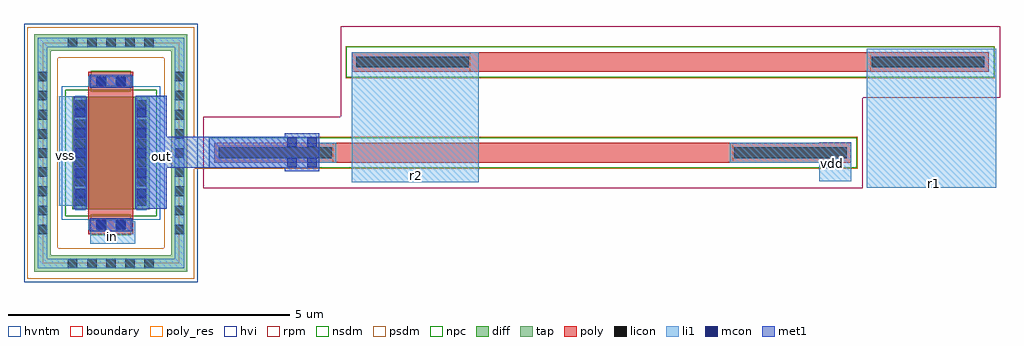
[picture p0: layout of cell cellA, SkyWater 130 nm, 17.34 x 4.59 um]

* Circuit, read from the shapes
.subckt cellA in out r1 r2 vdd vss
XM1 out in vss VSUBS sky130_fd_pr__nfet_g5v0d10v5 w=2 l=0.8
XR2 vdd out VSUBS sky130_fd_pr__res_high_po w=0.35 l=7
XR3 r1 r2 VSUBS sky130_fd_pr__res_high_po w=0.35 l=7
.ends

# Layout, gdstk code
from math import pi, radians
import gdstk
lib = gdstk.Library(unit=1e-6, precision=1e-09)
def R(c, l, rs):  # rectangles x0, y0, x1, y1
    for r in rs: c.add(gdstk.rectangle(r[:2], r[2:], *l))
def A(c, l, x, y, w, h, nx, ny, dx, dy):  # array of equal rectangles
    R(c, l, [(x+i*dx, y+j*dy, x+i*dx+w, y+j*dy+h) for i in range(nx) for j in range(ny)])
diff = (65, 20)
tap = (65, 44)
poly_res = (66, 13)
poly = (66, 20)
licon = (66, 44)
li1 = (67, 20)
mcon = (67, 44)
met1 = (68, 20)
hvi = (75, 20)
rpm = (86, 20)
nsdm = (93, 44)
psdm = (94, 20)
npc = (95, 20)
hvntm = (125, 20)
boundary = (235, 4)

sky130_fd_pr__nfet_g5v0d = lib.new_cell('sky130_fd_pr__nfet_g5v0d10v5_UDRKLA')
R(sky130_fd_pr__nfet_g5v0d, diff, [(-0.69,-1,0.69,1)])
R(sky130_fd_pr__nfet_g5v0d, tap, [(-1.36,-2.11,1.36,-1.82), (-1.36,-1.82,-1.07,1.82), (1.07,-1.82,1.36,1.82), (-1.36,1.82,1.36,2.11)])
R(sky130_fd_pr__nfet_g5v0d, poly, [(-0.4,-1.44,0.4,1.44)])
A(sky130_fd_pr__nfet_g5v0d, licon, -0.765, -2.05, 0.17, 0.17, 5, 2, 0.34, 3.93)
A(sky130_fd_pr__nfet_g5v0d, licon, -1.3, -1.445, 0.17, 0.17, 1, 9, 0, 0.34)
A(sky130_fd_pr__nfet_g5v0d, licon, 1.13, -1.445, 0.17, 0.17, 1, 9, 0, 0.34)
A(sky130_fd_pr__nfet_g5v0d, licon, -0.63, -0.935, 0.17, 0.17, 1, 6, 0, 0.34)
A(sky130_fd_pr__nfet_g5v0d, licon, 0.46, -0.935, 0.17, 0.17, 1, 6, 0, 0.34)
R(sky130_fd_pr__nfet_g5v0d, licon, [(-0.255,-1.36,-0.085,-1.19), (0.085,-1.36,0.255,-1.19), (-0.255,1.19,-0.085,1.36), (0.085,1.19,0.255,1.36)])
R(sky130_fd_pr__nfet_g5v0d, li1, [(-1.3,-2.05,1.3,-1.88), (-1.3,-1.88,-1.13,1.88), (1.13,-1.88,1.3,1.88), (-0.4,-1.36,0.4,-1.19), (-0.63,-1.02,-0.46,1.02), (0.46,-1.02,0.63,1.02), (-0.4,1.19,0.4,1.36), (-1.3,1.88,1.3,2.05)])
A(sky130_fd_pr__nfet_g5v0d, mcon, -0.63, -0.805, 0.17, 0.17, 1, 5, 0, 0.36)
A(sky130_fd_pr__nfet_g5v0d, mcon, 0.46, -0.805, 0.17, 0.17, 1, 5, 0, 0.36)
R(sky130_fd_pr__nfet_g5v0d, mcon, [(-0.265,-1.36,-0.095,-1.19), (0.095,-1.36,0.265,-1.19), (-0.265,1.19,-0.095,1.36), (0.095,1.19,0.265,1.36)])
R(sky130_fd_pr__nfet_g5v0d, met1, [(-0.38,-1.39,0.38,-1.16), (-0.66,-1,-0.43,1), (0.43,-1,0.66,1), (-0.38,1.16,0.38,1.39)])
R(sky130_fd_pr__nfet_g5v0d, hvi, [(-1.545,-2.295,1.545,2.295)])
R(sky130_fd_pr__nfet_g5v0d, nsdm, [(-0.815,-1.125,0.815,1.125)])
R(sky130_fd_pr__nfet_g5v0d, psdm, [(-1.485,-2.235,1.485,-1.695), (-1.485,-1.695,-0.945,1.695), (0.945,-1.695,1.485,1.695), (-1.485,1.695,1.485,2.235)])
R(sky130_fd_pr__nfet_g5v0d, npc, [(-0.355,-1.46,0.355,-1.09), (-0.355,1.09,0.355,1.46)])
R(sky130_fd_pr__nfet_g5v0d, hvntm, [(-0.875,-1.185,0.875,1.185)])
R(sky130_fd_pr__nfet_g5v0d, boundary, [(-1.21,-1.96,1.21,1.96)])

sky130_fd_pr__res_high_p = lib.new_cell('sky130_fd_pr__res_high_po_0p35_L6NJBM')
R(sky130_fd_pr__res_high_p, poly_res, [(-0.175,-3.56,0.175,3.56)])
R(sky130_fd_pr__res_high_p, poly, [(-0.175,-5.66,0.175,5.66)])
R(sky130_fd_pr__res_high_p, licon, [(-0.095,-5.58,0.095,-3.58), (-0.095,3.58,0.095,5.58)])
R(sky130_fd_pr__res_high_p, li1, [(-0.175,-5.66,0.175,-3.5), (-0.175,3.5,0.175,5.66)])
R(sky130_fd_pr__res_high_p, rpm, [(-0.635,-5.86,0.635,5.86)])
R(sky130_fd_pr__res_high_p, psdm, [(-0.285,-5.77,0.285,5.77)])
R(sky130_fd_pr__res_high_p, npc, [(-0.27,-5.755,0.27,5.755)])

cella = lib.new_cell('cellA')
R(cella, li1, [(-1.65,9.39,-0.85,9.79), (-0.79,10.01,-0.32,12.01), (-2.2,10.06,-1.72,12.01), (12.15,10.38,14.45,12.85), (3,10.48,5.26,12.79), (11.31,10.5,11.88,11.19), (0.46,10.74,2.39,11.29)])
R(cella, mcon, [(1.85,10.75,2.02,10.92), (2.21,10.75,2.38,10.92), (1.85,11.11,2.02,11.28), (2.21,11.11,2.38,11.28)])
R(cella, met1, [(-0.835,10.005,-0.285,10.74), (1.81,10.68,2.42,10.74), (-0.835,10.74,2.42,11.29), (-0.835,11.29,-0.285,12.015), (1.81,11.29,2.42,11.35)])
R(cella, rpm, [(2.8,11.64,12.08,11.98)])
R(cella, psdm, [(0.205,10.72,0.45,11.29)])
cella.add(gdstk.Reference(sky130_fd_pr__nfet_g5v0d, (-1.28,11)))
cella.add(gdstk.Reference(sky130_fd_pr__res_high_p, (6.22,11.005), rotation=3*pi/2))
cella.add(gdstk.Reference(sky130_fd_pr__res_high_p, (8.66,12.615), rotation=3*pi/2))
cella.add(gdstk.Label('in', (-1.25,9.51), layer=67, texttype=16))
cella.add(gdstk.Label('vdd', (11.54,10.82), layer=67, texttype=16))
cella.add(gdstk.Label('out', (-0.38,10.93), layer=67, texttype=16))
cella.add(gdstk.Label('vss', (-2.09,10.95), layer=67, texttype=16))
cella.add(gdstk.Label('r1', (13.36,10.45), layer=67, texttype=16))
cella.add(gdstk.Label('r2', (4.15,10.6), layer=67, texttype=16))

lib.write_gds('cellA.gds')
